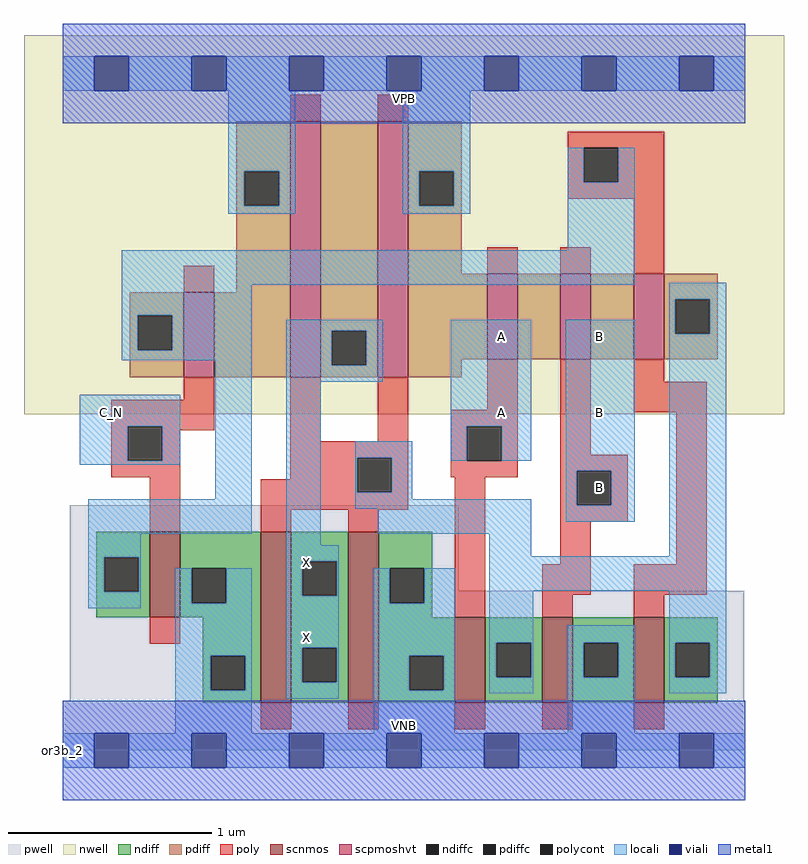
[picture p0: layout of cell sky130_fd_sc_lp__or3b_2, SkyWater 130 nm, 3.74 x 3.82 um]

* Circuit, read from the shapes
.subckt sky130_fd_sc_lp__or3b_2 A B C_N VGND VNB VPB VPWR X
XM1 VGND C_N n1 VNB sky130_fd_pr__nfet_01v8 w=0.42 l=0.15
XM2 X n2 VGND VNB sky130_fd_pr__nfet_01v8 w=0.84 l=0.15 m=2
XM3 n2 A VGND VNB sky130_fd_pr__nfet_01v8 w=0.42 l=0.15
XM4 VGND B n2 VNB sky130_fd_pr__nfet_01v8 w=0.42 l=0.15
XM5 n2 n1 VGND VNB sky130_fd_pr__nfet_01v8 w=0.42 l=0.15
XM6 VPWR C_N n1 VPB sky130_fd_pr__pfet_01v8_hvt w=0.42 l=0.15
XM7 X n2 VPWR VPB sky130_fd_pr__pfet_01v8_hvt w=1.26 l=0.15 m=2
XM8 n3 A VPWR VPB sky130_fd_pr__pfet_01v8_hvt w=0.42 l=0.15
XM9 n4 B n3 VPB sky130_fd_pr__pfet_01v8_hvt w=0.42 l=0.15
XM10 n2 n1 n4 VPB sky130_fd_pr__pfet_01v8_hvt w=0.42 l=0.15
.ends

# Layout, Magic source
magic
tech sky130A
magscale 1 2
<< nwell >>
rect -38 331 710 704
<< pwell >>
rect 7 157 390 241
rect 7 49 671 157
rect 0 0 672 49
<< scnmos >>
rect 86 131 116 215
rect 195 47 225 215
rect 281 47 311 215
rect 386 47 416 131
rect 472 47 502 131
rect 562 47 592 131
<< scpmoshvt >>
rect 119 367 149 451
rect 224 367 254 619
rect 310 367 340 619
rect 418 385 448 469
rect 490 385 520 469
rect 562 385 592 469
<< ndiff >>
rect 33 190 86 215
rect 33 156 41 190
rect 75 156 86 190
rect 33 131 86 156
rect 116 179 195 215
rect 116 145 127 179
rect 161 145 195 179
rect 116 131 195 145
rect 138 93 195 131
rect 138 59 146 93
rect 180 59 195 93
rect 138 47 195 59
rect 225 186 281 215
rect 225 152 236 186
rect 270 152 281 186
rect 225 101 281 152
rect 225 67 236 101
rect 270 67 281 101
rect 225 47 281 67
rect 311 179 364 215
rect 311 145 322 179
rect 356 145 364 179
rect 311 131 364 145
rect 311 93 386 131
rect 311 59 341 93
rect 375 59 386 93
rect 311 47 386 59
rect 416 106 472 131
rect 416 72 427 106
rect 461 72 472 106
rect 416 47 472 72
rect 502 106 562 131
rect 502 72 513 106
rect 547 72 562 106
rect 502 47 562 72
rect 592 106 645 131
rect 592 72 603 106
rect 637 72 645 106
rect 592 47 645 72
<< pdiff >>
rect 171 570 224 619
rect 171 536 179 570
rect 213 536 224 570
rect 171 451 224 536
rect 66 428 119 451
rect 66 394 74 428
rect 108 394 119 428
rect 66 367 119 394
rect 149 367 224 451
rect 254 413 310 619
rect 254 379 265 413
rect 299 379 310 413
rect 254 367 310 379
rect 340 570 393 619
rect 340 536 351 570
rect 385 536 393 570
rect 340 469 393 536
rect 340 385 418 469
rect 448 385 490 469
rect 520 385 562 469
rect 592 444 645 469
rect 592 410 603 444
rect 637 410 645 444
rect 592 385 645 410
rect 340 367 393 385
<< ndiffc >>
rect 41 156 75 190
rect 127 145 161 179
rect 146 59 180 93
rect 236 152 270 186
rect 236 67 270 101
rect 322 145 356 179
rect 341 59 375 93
rect 427 72 461 106
rect 513 72 547 106
rect 603 72 637 106
<< pdiffc >>
rect 179 536 213 570
rect 74 394 108 428
rect 265 379 299 413
rect 351 536 385 570
rect 603 410 637 444
<< poly >>
rect 224 619 254 645
rect 310 619 340 645
rect 119 451 149 477
rect 497 593 592 609
rect 497 559 513 593
rect 547 559 592 593
rect 497 543 592 559
rect 418 469 448 495
rect 490 469 520 495
rect 562 469 592 543
rect 119 345 149 367
rect 48 319 149 345
rect 48 285 64 319
rect 98 315 149 319
rect 98 285 116 315
rect 48 269 116 285
rect 86 215 116 269
rect 224 304 254 367
rect 310 304 340 367
rect 418 335 448 385
rect 224 288 340 304
rect 224 267 290 288
rect 195 254 290 267
rect 324 254 340 288
rect 382 319 448 335
rect 382 285 398 319
rect 432 285 448 319
rect 382 269 448 285
rect 490 291 520 385
rect 562 363 592 385
rect 562 333 634 363
rect 490 275 556 291
rect 195 237 340 254
rect 195 215 225 237
rect 281 215 311 237
rect 86 105 116 131
rect 386 131 416 269
rect 490 241 506 275
rect 540 241 556 275
rect 490 225 556 241
rect 490 183 520 225
rect 604 183 634 333
rect 472 153 520 183
rect 562 153 634 183
rect 472 131 502 153
rect 562 131 592 153
rect 195 21 225 47
rect 281 21 311 47
rect 386 21 416 47
rect 472 21 502 47
rect 562 21 592 47
<< polycont >>
rect 513 559 547 593
rect 64 285 98 319
rect 290 254 324 288
rect 398 285 432 319
rect 506 241 540 275
<< locali >>
rect 0 649 31 683
rect 65 649 127 683
rect 161 649 223 683
rect 257 649 319 683
rect 353 649 415 683
rect 449 649 511 683
rect 545 649 607 683
rect 641 649 672 683
rect 163 570 229 649
rect 163 536 179 570
rect 213 536 229 570
rect 163 528 229 536
rect 335 570 401 649
rect 335 536 351 570
rect 385 536 401 570
rect 335 528 401 536
rect 497 559 513 593
rect 547 559 563 593
rect 497 492 563 559
rect 58 458 563 492
rect 58 428 186 458
rect 58 394 74 428
rect 108 394 186 428
rect 597 444 653 460
rect 58 384 186 394
rect 17 319 116 350
rect 17 285 64 319
rect 98 285 116 319
rect 17 281 116 285
rect 150 247 186 384
rect 25 213 186 247
rect 220 413 315 424
rect 220 379 265 413
rect 299 379 315 413
rect 220 363 315 379
rect 25 190 77 213
rect 25 156 41 190
rect 75 156 77 190
rect 220 202 254 363
rect 382 319 461 424
rect 288 288 344 304
rect 288 254 290 288
rect 324 254 344 288
rect 382 285 398 319
rect 432 285 461 319
rect 288 247 344 254
rect 495 275 563 424
rect 288 238 461 247
rect 310 213 461 238
rect 495 241 506 275
rect 540 241 563 275
rect 495 225 563 241
rect 597 410 603 444
rect 637 410 653 444
rect 220 186 272 202
rect 25 140 77 156
rect 111 145 127 179
rect 161 145 186 179
rect 111 93 186 145
rect 111 59 146 93
rect 180 59 186 93
rect 111 17 186 59
rect 220 152 236 186
rect 270 152 272 186
rect 420 191 461 213
rect 597 191 653 410
rect 220 101 272 152
rect 220 67 236 101
rect 270 67 272 101
rect 220 51 272 67
rect 306 145 322 179
rect 356 145 386 179
rect 306 93 386 145
rect 306 59 341 93
rect 375 59 386 93
rect 306 17 386 59
rect 420 157 653 191
rect 420 106 463 157
rect 420 72 427 106
rect 461 72 463 106
rect 420 56 463 72
rect 497 106 563 123
rect 497 72 513 106
rect 547 72 563 106
rect 497 17 563 72
rect 597 106 653 157
rect 597 72 603 106
rect 637 72 653 106
rect 597 56 653 72
rect 0 -17 31 17
rect 65 -17 127 17
rect 161 -17 223 17
rect 257 -17 319 17
rect 353 -17 415 17
rect 449 -17 511 17
rect 545 -17 607 17
rect 641 -17 672 17
<< viali >>
rect 31 649 65 683
rect 127 649 161 683
rect 223 649 257 683
rect 319 649 353 683
rect 415 649 449 683
rect 511 649 545 683
rect 607 649 641 683
rect 31 -17 65 17
rect 127 -17 161 17
rect 223 -17 257 17
rect 319 -17 353 17
rect 415 -17 449 17
rect 511 -17 545 17
rect 607 -17 641 17
<< metal1 >>
rect 0 683 672 715
rect 0 649 31 683
rect 65 649 127 683
rect 161 649 223 683
rect 257 649 319 683
rect 353 649 415 683
rect 449 649 511 683
rect 545 649 607 683
rect 641 649 672 683
rect 0 617 672 649
rect 0 17 672 49
rect 0 -17 31 17
rect 65 -17 127 17
rect 161 -17 223 17
rect 257 -17 319 17
rect 353 -17 415 17
rect 449 -17 511 17
rect 545 -17 607 17
rect 641 -17 672 17
rect 0 -49 672 -17
<< labels >>
flabel pwell s 0 0 672 49 0 FreeSans 200 0 0 0 VNB
port 5 nsew ground bidirectional
flabel nwell s 0 617 672 666 0 FreeSans 200 0 0 0 VPB
port 6 nsew power bidirectional
rlabel comment s 0 0 0 0 4 or3b_2
flabel metal1 s 0 617 672 666 0 FreeSans 340 0 0 0 VPWR
port 7 nsew power bidirectional
flabel metal1 s 0 0 672 49 0 FreeSans 340 0 0 0 VGND
port 4 nsew ground bidirectional
flabel locali s 223 94 257 128 0 FreeSans 340 0 0 0 X
port 8 nsew signal output
flabel locali s 223 168 257 202 0 FreeSans 340 0 0 0 X
port 8 nsew signal output
flabel locali s 415 316 449 350 0 FreeSans 340 0 0 0 A
port 1 nsew signal input
flabel locali s 415 390 449 424 0 FreeSans 340 0 0 0 A
port 1 nsew signal input
flabel locali s 511 242 545 276 0 FreeSans 340 0 0 0 B
port 2 nsew signal input
flabel locali s 511 316 545 350 0 FreeSans 340 0 0 0 B
port 2 nsew signal input
flabel locali s 511 390 545 424 0 FreeSans 340 0 0 0 B
port 2 nsew signal input
flabel locali s 31 316 65 350 0 FreeSans 340 0 0 0 C_N
port 3 nsew signal input
<< properties >>
string LEFsite unit
string LEFclass CORE
string FIXED_BBOX 0 0 672 666
string GDS_FILE $PDKPATH/libs.ref/sky130_fd_sc_lp/gds/sky130_fd_sc_lp.gds
string LEFsymmetry X Y R90
string GDS_END 593916
string GDS_START 587566
<< end >>
